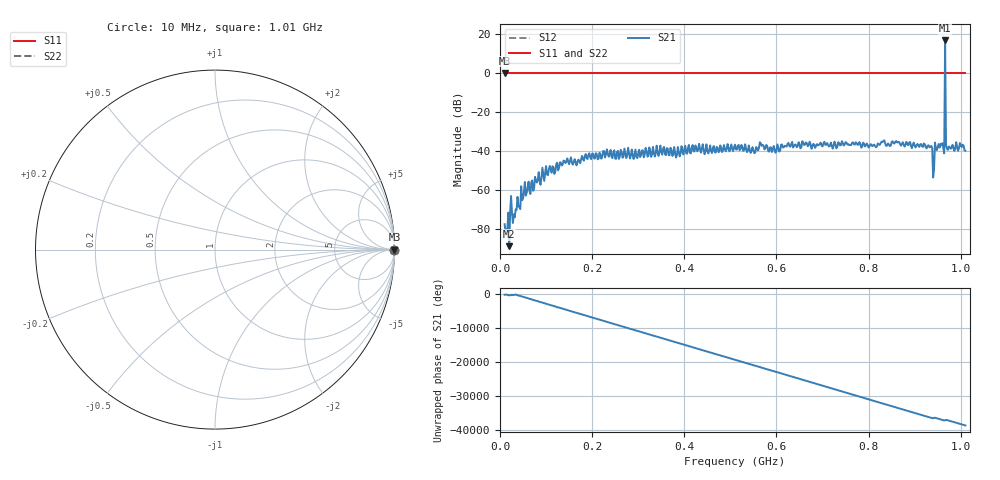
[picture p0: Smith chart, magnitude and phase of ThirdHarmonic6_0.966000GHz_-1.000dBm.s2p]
! 8/16/2025 7:15:09 AM
! C:\ANRITSUVNA\TEMP\TEMP.S2P
! CHANNEL.1
! TR.MEASUREMENT
! RAW.DATA
! RF.CORRECTION.OFF
! AVERAGING.OFF
! IF.BANDWIDTH: 5KHZ
! SWEEPTYPE:  FREQ.SWEEP(Linear)
! Reference Plane Port Info
! PORT:  PORT1  PORT2
! DISTANCE:  0  m  0  m
! TIME:  0  s  0  s
! PHASE.OFFSET:  0  deg.  0  deg.
! LOSS:  0  dB  0  dB
! REF.LOSS:  0  dB  0  dB
! REF.FREQ:  0  Hz  0  Hz
! Power Info
! POWER:  -20  dBm  -20  dBm
! EFF.POWER:  -20  dBm  -20  dBm
! SOURCE.ATTEN:  0  dB  0  dB
! TEST.ATTEN:  0  dB  0  dB
# GHZ S RI R 50.0
! FREQ.GHZ  S11RE  S11IM  S21RE  S21IM  S12RE  S12IM  S22RE  S22IM
!; PortSelection: Port_12
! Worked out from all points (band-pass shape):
!   501 points, 10 MHz to 1.01 GHz, reference 50 ohm
!   highest |S21| = 16.68 dB at 966 MHz (marker M1); lowest = -88.8 dB at 20 MHz (marker M2)
!   |S21| within 3 dB of the highest: 965.8964 MHz to 966.1114 MHz (215 kHz wide, 0.0223 % of centre)
!   lowest |S11| = 0.0 dB at 10 MHz (marker M3)
!   |S11| at or under -10 dB: nowhere
!   |S22| runs from 0.0 to 0.0 dB; largest |S21 - S12| = 5.8
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0.01  1 0  -6.88e-05 -0.000113  1 0  1 0
0.016  1 0  -6.24e-05 -7.26e-05  1 0  1 0
0.02  1 0  -1.97e-05 3.03e-05  1 0  1 0
0.032  1 0  0.000106 -0.000167  1 0  1 0
0.05  1 0  0.000606 1.98e-05  1 0  1 0
0.096  1 0  -1.06e-05 -0.0017  1 0  1 0
0.142  1 0  -0.00427 -0.00242  1 0  1 0
0.178  1 0  -0.0067 -0.00334  1 0  1 0
0.344  1 0  0.00747 0.000286  1 0  1 0
0.51  1 0  -0.0145 0.000827  1 0  1 0
0.678  1 0  0.00366 -0.0125  1 0  1 0
0.844  1 0  0.000602 0.0145  1 0  1 0
0.932  1 0  -0.0108 0.00615  1 0  1 0
0.938  1 0  -0.000493 -0.0118  1 0  1 0
0.944  1 0  0.0142 0.00832  1 0  1 0
0.948  1 0  -0.00512 -0.00912  1 0  1 0
0.96  1 0  -0.00603 0.0147  1 0  1 0
0.962  1 0  0.0111 0.00481  1 0  1 0
0.966  1 0  6.719 1.191  1 0  1 0
0.97  1 0  0.00468 0.0105  1 0  1 0
0.972  1 0  0.0106 0.00012  1 0  1 0
1.01  1 0  0.00212 -0.00988  1 0  1 0
